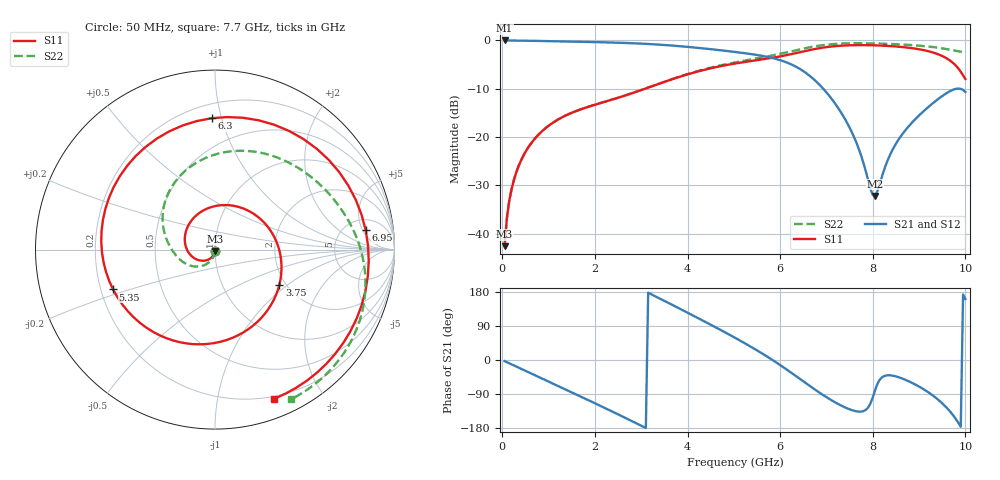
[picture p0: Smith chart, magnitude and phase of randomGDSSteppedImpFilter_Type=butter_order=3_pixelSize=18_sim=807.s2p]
! freq	dB(S11)	phase(S11)	dB(S12)	phase(S12)
!  dB(S21)	phase(S21)	dB(S22)	phase(S22)
!S-par simulation data
#  GHz  S  DB  R 50
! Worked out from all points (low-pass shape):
!   200 points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, 50 MHz to 10 GHz, reference 50 ohm
!   highest |S21| = -0.01 dB at 50 MHz (marker M1); lowest = -32.2 dB at 8.05 GHz (marker M2)
!   |S21| within 3 dB of the highest: start of sweep to 5.495 GHz
!   lowest |S11| = -42.6 dB at 50 MHz (marker M3), VSWR 1.01, Z = 50 - j0.743 ohm
!   |S11| at or under -10 dB: start of sweep to 3.08 GHz
!   |S22| runs from -42.6 to -0.6 dB; largest |S21 - S12| = 0
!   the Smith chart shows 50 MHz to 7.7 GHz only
!   S11 on the Smith chart (normalised r, x): 50 MHz: 1.00, -0.01; 3.75 GHz: 1.85, -0.87; 5.35 GHz: 0.25, -0.18; 6.3 GHz: 0.29, +0.93; 6.95 GHz: 7.60, +5.77; 7.7 GHz: 0.18, -1.46
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0.05  -42.57 -92.7  -0.01 -2.9  -0.01 -2.9  -42.56 -91.4
0.2  -30.78 -103.9  -0.02 -11.5  -0.02 -11.5  -30.76 -98.8
0.5  -23.08 -125.4  -0.06 -28.6  -0.06 -28.6  -23.06 -112.6
1.15  -16.67 -172.7  -0.18 -65.5  -0.18 -65.5  -16.66 -140.1
1.75  -14.07 140.6  -0.29 -99.7  -0.29 -99.7  -14.07 -162.0
2.65  -11.41 63.5  -0.52 -152.3  -0.52 -152.3  -11.40 170.1
3.4  -8.91 -0.6  -0.88 162.2  -0.88 162.2  -8.88 143.6
3.75  -7.77 -28.8  -1.12 140.5  -1.12 140.5  -7.72 128.6
4.4  -5.99 -79.1  -1.71 99.6  -1.71 99.6  -5.88 97.5
5.05  -4.74 -131.5  -2.41 57.0  -2.41 57.0  -4.50 65.1
5.35  -4.30 -158.7  -2.79 36.3  -2.79 36.3  -3.97 50.5
5.85  -3.57 148.4  -3.68 -1.2  -3.68 -1.2  -3.07 27.4
6.3  -2.71 91.4  -5.23 -38.8  -5.23 -38.8  -2.12 6.8
6.7  -1.86 38.3  -7.82 -73.7  -7.82 -73.7  -1.30 -13.0
6.95  -1.45 7.3  -10.20 -94.2  -10.20 -94.2  -0.94 -25.8
7.7  -0.97 -68.3  -22.50 -136.3  -22.50 -136.3  -0.58 -63.1
8.05  -1.02 -97.0  -32.16 -79.6  -32.16 -79.6  -0.62 -79.5
8.35  -1.15 -120.7  -24.16 -40.3  -24.16 -40.3  -0.71 -93.5
9.05  -1.91 176.6  -15.06 -73.7  -15.06 -73.7  -1.12 -128.3
9.55  -3.46 103.2  -11.17 -120.2  -11.17 -120.2  -1.72 -157.9
9.85  -5.83 20.4  -9.96 -166.2  -9.96 -166.2  -2.25 -178.4
10  -7.99 -50.9  -10.66 161.0  -10.66 161.0  -2.45 170.6
